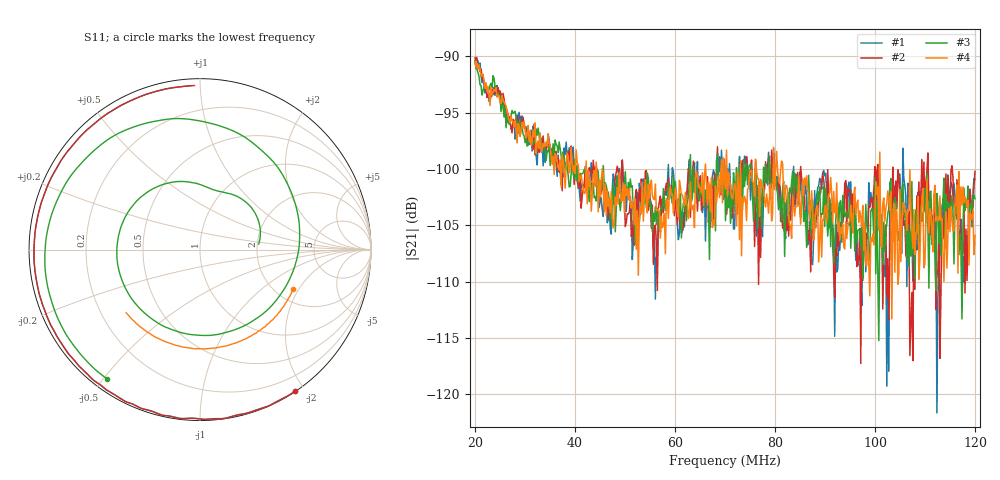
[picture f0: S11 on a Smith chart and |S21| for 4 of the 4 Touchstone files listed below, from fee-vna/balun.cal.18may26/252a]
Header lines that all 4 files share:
! Anritsu VNA Master:  Model: MS2036C/10/77
! SN:  1601066
! Existing Calibration Information:
! TYPE:  Current Settings,  Active Cal Settings
! # POINTS:  500,  500
! START FREQ:  20.000 MHz,  20.000 MHz
! STOP FREQ:  120.000 MHz,  120.000 MHz
! SOURCE POWER:  High,  High
! IFBW:  50 Hz,  50 Hz
! AVG FACTOR:  1 ,  1
! REF PLANE 1:  0 mm,  0 mm
! REF PLANE 2:  0 mm,  0 mm
! CAL TYPE:  Full S11,  Full S11
! CAL METHOD:  SOLT,  SOLT
! CAL LINE TYPE:  Coax,  Coax
! DUT PORT 1:  K-Conn(M),  K-Conn(M)
! DUT PORT 2:  K-Conn(M),  K-Conn(M)
! CAL STATUS:  OK: Accuracy High,  --
# GHZ S DB R 50.0
! FREQ.GHZ  S11DB  S11A  S21DB  S21A  S12DB  S12A  S22DB  S22A
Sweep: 20 MHz to 120 MHz
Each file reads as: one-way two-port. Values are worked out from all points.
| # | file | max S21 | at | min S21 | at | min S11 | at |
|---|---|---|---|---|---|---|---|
| 1 | 2a.47.1-2.s2p | -90.15 dB | 20 MHz | -121.6 dB | 112.4 MHz | -0.4 dB | 117.4 MHz |
| 2 | 2a.47.2-3.s2p | -90.08 dB | 20.2 MHz | -117.3 dB | 97.15 MHz | -0.4 dB | 117.4 MHz |
| 3 | 2a.m.2.s2p | -90.35 dB | 20 MHz | -115.2 dB | 100.8 MHz | -9.2 dB | 120 MHz |
| 4 | 2a.r200.2-3.s2p | -90.45 dB | 20 MHz | -113.3 dB | 103.4 MHz | -4.9 dB | 119.8 MHz |
